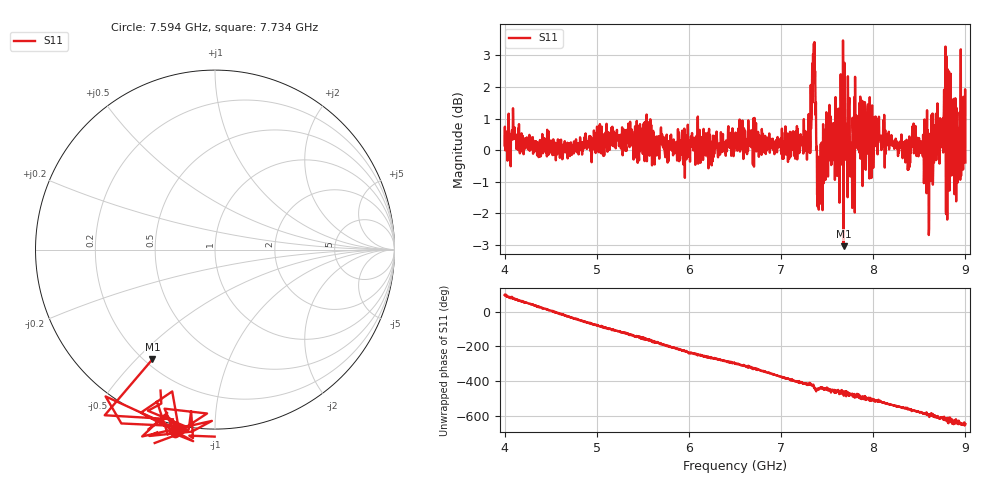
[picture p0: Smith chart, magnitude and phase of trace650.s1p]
! Created with skrf 1.8.0 (http://scikit-rf.org).
# Hz S RI R 50.0
!freq ReS11 ImS11
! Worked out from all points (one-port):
!   1601 points, 4 GHz to 9 GHz, reference 50 ohm
!   lowest |S11| = -3.0 dB at 7.678 GHz (marker M1), VSWR 5.76, Z = 11.5 - j27.9 ohm
!   |S11| at or under -10 dB: nowhere
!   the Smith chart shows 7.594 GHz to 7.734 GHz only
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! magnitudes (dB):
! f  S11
! 4 GHz  0.1
! 4.094 GHz  0.9
! 4.625 GHz  -0.3
! 5.25 GHz  0.2
! 5.875 GHz  0.0
! 6.5 GHz  0.5
! 7.125 GHz  0.4
! 7.294 GHz  0.3
! 7.347 GHz  3.0
! 7.362 GHz  3.4
! 7.397 GHz  -1.8
! 7.412 GHz  -1.2
! 7.516 GHz  -0.3
! 7.619 GHz  0.4
! 7.678 GHz  -3.0
! 7.75 GHz  -0.3
! 7.775 GHz  1.0
! 7.828 GHz  0.9
! 7.981 GHz  -0.9
! 8.038 GHz  0.4
! 8.375 GHz  -0.6
! 8.441 GHz  -0.1
! 8.6 GHz  -0.8
! 8.656 GHz  0.8
! 8.788 GHz  -2.0
! 8.906 GHz  0.8
! 8.972 GHz  0.8
! 9 GHz  -0.4
